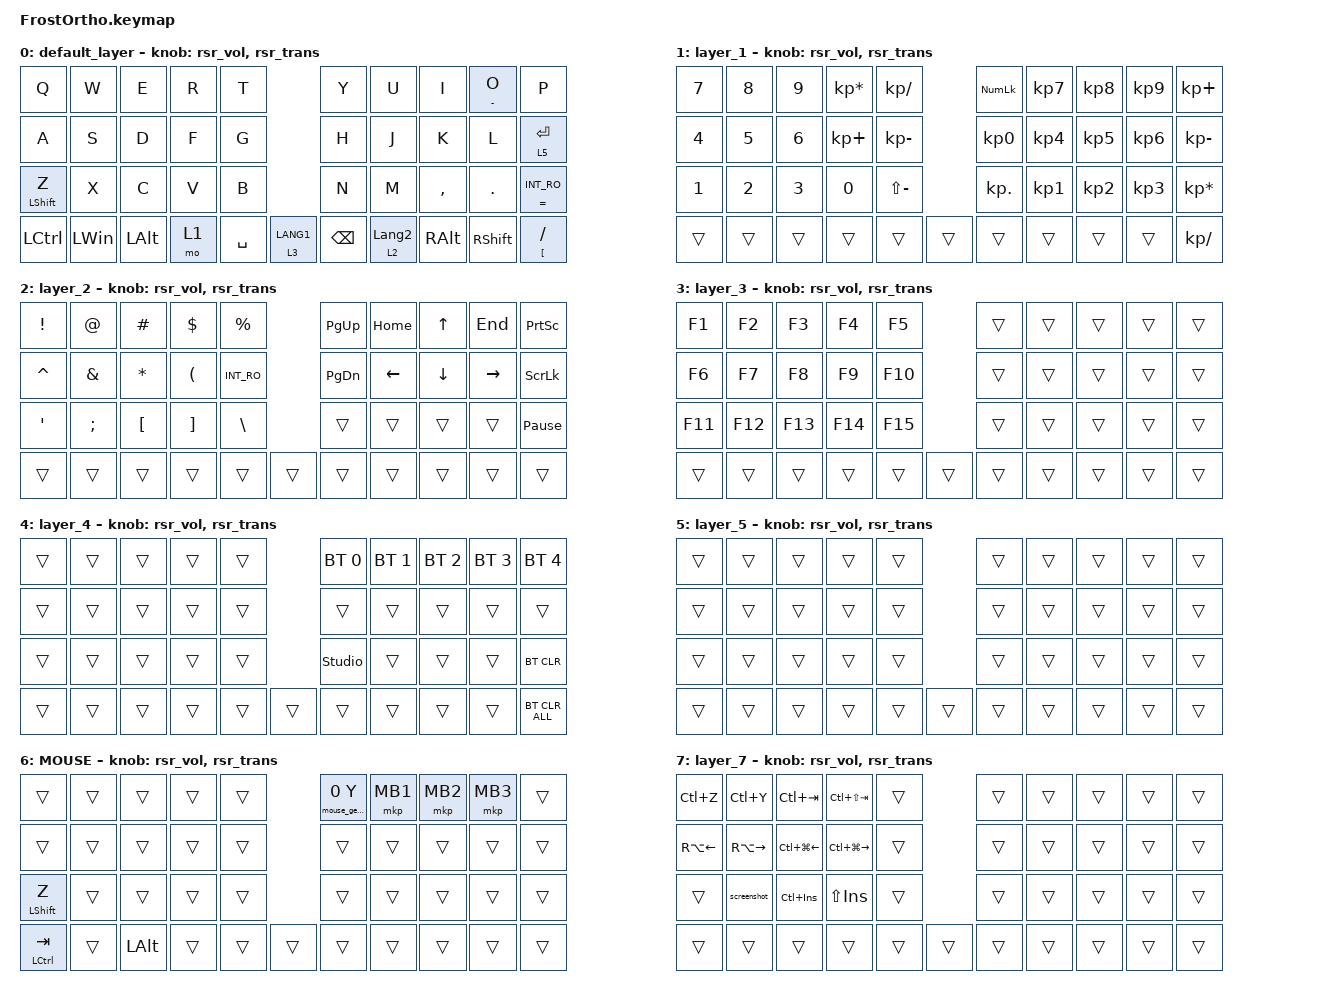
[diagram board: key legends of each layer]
#include <input/processors.dtsi>
#include <behaviors/runtime-sensor-rotate.dtsi>
#include <behaviors/runtime-sensor-rotate.dtsi>
#include <mouse-gesture.dtsi>
#include <behaviors.dtsi>
#include <dt-bindings/zmk/bt.h>
#include <dt-bindings/zmk/keys.h>
#include <dt-bindings/zmk/pointing.h>

#define MOUSE 6

&mt {
    flavor = "balanced";
    quick-tap-ms = <0>;
};

// マウスジェスチャー（AMLのYキーを長押ししながらボールを動かす）

&zip_mouse_gesture {
    stroke-size = <50>; // 1ストロークと判定する移動量
    enable-eager-mode;
    suppress-movement; // ジェスチャー中はカーソルを動かさない
    history_back {
        pattern = <GESTURE_LEFT>;
        bindings = <&kp LA(LEFT)>; // 戻る
    };

    history_forward {
        pattern = <GESTURE_RIGHT>;
        bindings = <&kp LA(RIGHT)>; // 進む
    };

    prev_tab {
        pattern = <GESTURE_UP>;
        bindings = <&kp LC(TAB)>; // 次のタブ
    };

    next_tab {
        pattern = <GESTURE_DOWN>;
        bindings = <&kp LC(LS(TAB))>; // 前のタブ
    };
};

/ {
    combos {
        compatible = "zmk,combos";

        COMBO_ESC {
            bindings = <&kp ESC>;
            key-positions = <0 1>;
        };

        COMBO_TAB {
            bindings = <&kp TAB>;
            key-positions = <10 11>;
        };

        COMBO_CAPSLOCK {
            bindings = <&kp CAPS>;
            key-positions = <20 21>;
        };

        layer4 {
            bindings = <&lt 4 RIGHT_SHIFT>;
            key-positions = <40 39>;
        };

        Layer7 {
            bindings = <&lt 7 PRINTSCREEN>;
            key-positions = <5 36>;
        };
    };

    macros {
        to_layer_0: to_layer_0 {
            compatible = "zmk,behavior-macro-one-param";
            #binding-cells = <1>;
            bindings = <&to 0 &macro_param_1to1 &kp MACRO_PLACEHOLDER>;
            label = "TO_LAYER_0";
        };

        screenshot: screenshot {
            compatible = "zmk,behavior-macro";
            #binding-cells = <0>;
            bindings =
                <&to 7>,
                <&macro_press>,
                <&kp LEFT_WIN &kp LEFT_SHIFT &kp S>,
                <&macro_release>,
                <&kp LEFT_WIN &kp LEFT_SHIFT &kp S>;

            label = "SCREENSHOT";
        };
    };

    behaviors {
        lt_to_layer_0: lt_to_layer_0 {
            compatible = "zmk,behavior-hold-tap";
            label = "LAYER_TAP_TO_0";
            bindings = <&mo>, <&to_layer_0>;

            #binding-cells = <2>;
            tapping-term-ms = <300>;
        };

        // Kyemap Editor用

        scroll_up_down: behavior_sensor_rotate_mouse_wheel_up_down {
            compatible = "zmk,behavior-sensor-rotate";
            #sensor-binding-cells = <0>;
            tap-ms = <20>;
            bindings = <&msc SCRL_UP>, <&msc SCRL_DOWN>;
        };

        vol_up_down: vol_up_down {
            compatible = "zmk,behavior-sensor-rotate";
            #sensor-binding-cells = <0>;
            tap-ms = <5>;
            bindings = <&kp C_VOL_DN>, <&kp C_VOL_UP>;
        };

        // DYA Studio用

        rsr_vol: rsr_vol {
            compatible = "zmk,behavior-runtime-sensor-rotate";
            #sensor-binding-cells = <0>;
            tap-ms = <5>;
            cw-binding = <&kp C_VOL_DN>;
            ccw-binding = <&kp C_VOL_UP>;
        };

        hold_tap: hold_tap {
            compatible = "zmk,behavior-hold-tap";
            label = "HOLD_TAP";
            bindings = <&mo>, <&kp>;

            #binding-cells = <2>;
            tapping-term-ms = <200>;
        };
    };

    keymap {
        compatible = "zmk,keymap";

        default_layer {
            bindings = <
&kp Q             &kp W         &kp E         &kp R  &kp T                       &kp Y          &kp U                   &kp I      &mt MINUS O      &kp P
&kp A             &kp S         &kp D         &kp F  &kp G                       &kp H          &kp J                   &kp K      &kp L            &lt 5 ENTER
&mt LEFT_SHIFT Z  &kp X         &kp C         &kp V  &kp B                       &kp N          &kp M                   &kp COMMA  &kp PERIOD       &mt EQUAL INT_RO
&kp LEFT_CONTROL  &kp LEFT_WIN  &kp LEFT_ALT  &mo 1  &kp SPACE  &lt 3 LANG1      &kp BACKSPACE  &hold_tap 2 LANGUAGE_2  &kp RALT   &kp RIGHT_SHIFT  &mt LEFT_BRACKET SLASH
            >;

            sensor-bindings = <&rsr_vol &rsr_trans>;
        };

        layer_1 {
            bindings = <
&kp N7        &kp N8        &kp N9        &kp KP_MULTIPLY  &kp KP_SLASH               &kp KP_NLCK      &kp KP_NUMBER_7  &kp KP_NUMBER_8  &kp KP_NUMBER_9  &kp KP_PLUS
&kp NUMBER_4  &kp N5        &kp NUMBER_6  &kp KP_PLUS      &kp KP_MINUS               &kp KP_NUMBER_0  &kp KP_NUMBER_4  &kp KP_NUMBER_5  &kp KP_NUMBER_6  &kp KP_MINUS
&kp NUMBER_1  &kp NUMBER_2  &kp NUMBER_3  &kp N0           &kp LS(MINUS)              &kp KP_DOT       &kp KP_NUMBER_1  &kp KP_NUMBER_2  &kp KP_NUMBER_3  &kp KP_MULTIPLY
&trans        &trans        &trans        &trans           &trans         &trans      &trans           &trans           &trans           &trans           &kp KP_SLASH
            >;

            sensor-bindings = <&rsr_vol &rsr_trans>;
        };

        layer_2 {
            bindings = <
&kp EXCLAMATION  &kp AT_SIGN    &kp HASH          &kp DOLLAR            &kp PERCENT                &kp PAGE_UP    &kp HOME  &kp UP_ARROW  &kp END    &kp PRINTSCREEN
&kp CARET        &kp AMPERSAND  &kp ASTRK         &kp LEFT_PARENTHESIS  &kp INT_RO                 &kp PAGE_DOWN  &kp LEFT  &kp DOWN      &kp RIGHT  &kp SCROLLLOCK
&kp APOSTROPHE   &kp SEMICOLON  &kp LEFT_BRACKET  &kp RIGHT_BRACKET     &kp BACKSLASH              &trans         &trans    &trans        &trans     &kp PAUSE_BREAK
&trans           &trans         &trans            &trans                &trans         &trans      &trans         &trans    &trans        &trans     &trans
            >;

            sensor-bindings = <&rsr_vol &rsr_trans>;
        };

        layer_3 {
            bindings = <
&kp F1   &kp F2   &kp F3   &kp F4   &kp F5               &trans  &trans  &trans  &trans  &trans
&kp F6   &kp F7   &kp F8   &kp F9   &kp F10              &trans  &trans  &trans  &trans  &trans
&kp F11  &kp F12  &kp F13  &kp F14  &kp F15              &trans  &trans  &trans  &trans  &trans
&trans   &trans   &trans   &trans   &trans   &trans      &trans  &trans  &trans  &trans  &trans
            >;

            sensor-bindings = <&rsr_vol &rsr_trans>;
        };

        layer_4 {
            bindings = <
&trans  &trans  &trans  &trans  &trans              &bt BT_SEL 0    &bt BT_SEL 1  &bt BT_SEL 2  &bt BT_SEL 3  &bt BT_SEL 4
&trans  &trans  &trans  &trans  &trans              &trans          &trans        &trans        &trans        &trans
&trans  &trans  &trans  &trans  &trans              &studio_unlock  &trans        &trans        &trans        &bt BT_CLR
&trans  &trans  &trans  &trans  &trans  &trans      &trans          &trans        &trans        &trans        &bt BT_CLR_ALL
            >;

            sensor-bindings = <&rsr_vol &rsr_trans>;
        };

        layer_5 {
            bindings = <
&trans  &trans  &trans  &trans  &trans              &trans  &trans  &trans  &trans  &trans
&trans  &trans  &trans  &trans  &trans              &trans  &trans  &trans  &trans  &trans
&trans  &trans  &trans  &trans  &trans              &trans  &trans  &trans  &trans  &trans
&trans  &trans  &trans  &trans  &trans  &trans      &trans  &trans  &trans  &trans  &trans
            >;

            sensor-bindings = <&rsr_vol &rsr_trans>;
        };

        // AML: &trans 以外のキーは押しても AML から離脱しない

        MOUSE {
            bindings = <
&trans                &trans  &trans        &trans  &trans              &mouse_gesture_kp 0 Y  &mkp MB1  &mkp MB2  &mkp MB3  &trans
&trans                &trans  &trans        &trans  &trans              &trans                 &trans    &trans    &trans    &trans
&mt LEFT_SHIFT Z      &trans  &trans        &trans  &trans              &trans                 &trans    &trans    &trans    &trans
&mt LEFT_CONTROL TAB  &trans  &kp LEFT_ALT  &trans  &trans  &trans      &trans                 &trans    &trans    &trans    &trans
            >;

            sensor-bindings = <&rsr_vol &rsr_trans>;
        };

        layer_7 {
            bindings = <
&kp LC(Z)           &kp LC(Y)            &kp LC(TAB)             &kp LC(LS(TAB))          &trans              &trans  &trans  &trans  &trans  &trans
&kp RA(LEFT_ARROW)  &kp RA(RIGHT_ARROW)  &kp LC(LG(LEFT_ARROW))  &kp LC(LG(RIGHT_ARROW))  &trans              &trans  &trans  &trans  &trans  &trans
&trans              &screenshot          &kp LC(INS)             &kp LS(INS)              &trans              &trans  &trans  &trans  &trans  &trans
&trans              &trans               &trans                  &trans                   &trans  &trans      &trans  &trans  &trans  &trans  &trans
            >;

            sensor-bindings = <&rsr_vol &rsr_trans>;
        };
    };
};
